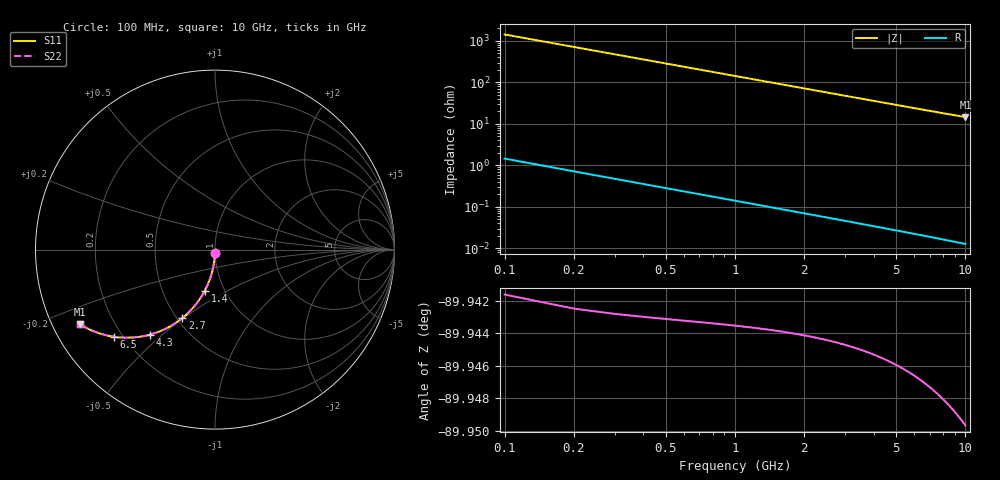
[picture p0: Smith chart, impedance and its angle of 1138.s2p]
# Hz S RI R 50.00
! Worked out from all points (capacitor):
!   100 points, 100 MHz to 10 GHz, reference 50 ohm
!   read as one part in shunt: C = 1.11 pF near 100 MHz
!   lowest |Z| = 14.6 ohm at 10 GHz (marker M1)
!   S11 on the Smith chart (normalised r, x): 100 MHz: 1.00, -0.03; 1.4 GHz: 0.81, -0.39; 2.7 GHz: 0.53, -0.49; 4.3 GHz: 0.31, -0.46; 6.5 GHz: 0.17, -0.36; 10 GHz: 0.08, -0.25
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1e8  -0.000252 -0.0173  0.9996 -0.0176  0.9996 -0.0176  -0.000252 -0.0173
2e8  -0.00118 -0.0345  0.9987 -0.0351  0.9987 -0.0351  -0.00118 -0.0345
3e8  -0.00271 -0.0517  0.9972 -0.0526  0.9972 -0.0526  -0.00271 -0.0517
4e8  -0.00484 -0.0688  0.995 -0.07  0.995 -0.07  -0.00484 -0.0688
5e8  -0.00755 -0.0857  0.9923 -0.0872  0.9923 -0.0872  -0.00755 -0.0857
6e8  -0.0108 -0.1025  0.989 -0.1043  0.989 -0.1043  -0.0108 -0.1025
7e8  -0.0147 -0.1191  0.9851 -0.1212  0.9851 -0.1212  -0.0147 -0.1191
9e8  -0.0241 -0.1517  0.9758 -0.1544  0.9758 -0.1544  -0.0241 -0.1517
1.1e9  -0.0356 -0.1832  0.9643 -0.1865  0.9643 -0.1865  -0.0356 -0.1832
1.4e9  -0.0563 -0.2281  0.9435 -0.2323  0.9435 -0.2323  -0.0563 -0.2281
1.8e9  -0.0898 -0.2828  0.91 -0.2882  0.91 -0.2882  -0.0898 -0.2828
2.2e9  -0.1284 -0.3309  0.8714 -0.3375  0.8714 -0.3375  -0.1284 -0.3309
2.7e9  -0.1816 -0.381  0.8182 -0.3892  0.8182 -0.3892  -0.1816 -0.381
3.4e9  -0.2603 -0.4332  0.7395 -0.4435  0.7395 -0.4435  -0.2603 -0.4332
4.3e9  -0.3603 -0.4731  0.6394 -0.4861  0.6394 -0.4861  -0.3603 -0.4731
5.1e9  -0.4423 -0.4884  0.5575 -0.5039  0.5575 -0.5039  -0.4423 -0.4884
5.8e9  -0.5065 -0.4906  0.4931 -0.5082  0.4931 -0.5082  -0.5065 -0.4906
6.5e9  -0.5634 -0.4855  0.4362 -0.5053  0.4362 -0.5053  -0.5634 -0.4855
6.7e9  -0.5784 -0.4831  0.4213 -0.5035  0.4213 -0.5035  -0.5784 -0.4831
7.5e9  -0.6325 -0.4701  0.3671 -0.493  0.3671 -0.493  -0.6325 -0.4701
8.4e9  -0.6838 -0.4515  0.3157 -0.4772  0.3157 -0.4772  -0.6838 -0.4515
1e10  -0.7547 -0.4141  0.2446 -0.4449  0.2446 -0.4449  -0.7547 -0.4141
